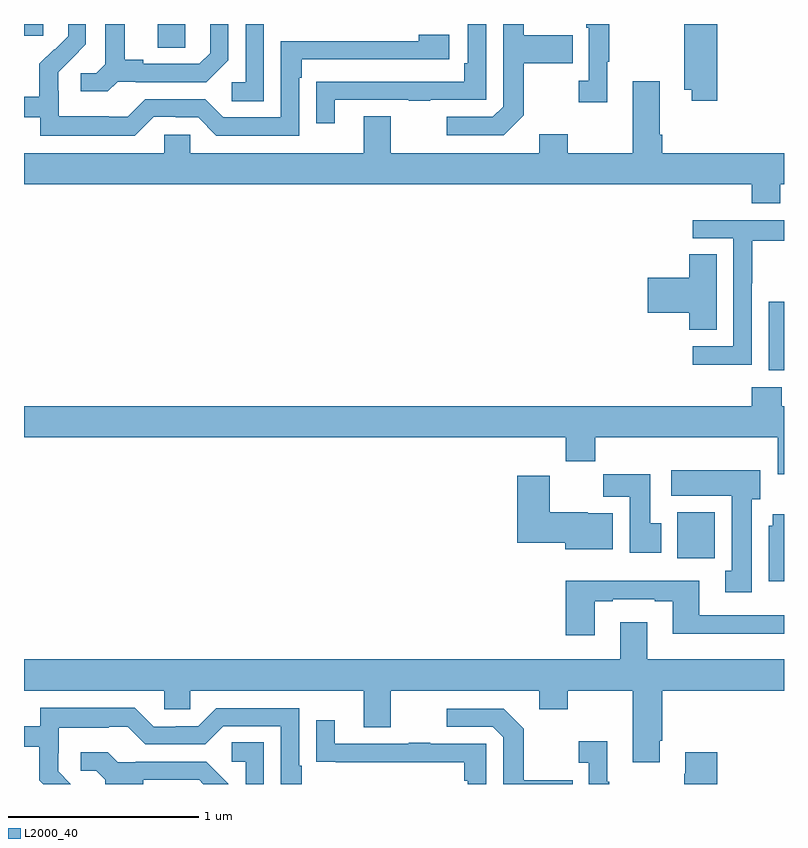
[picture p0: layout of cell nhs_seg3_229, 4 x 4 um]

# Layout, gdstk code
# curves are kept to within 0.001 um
import gdstk
lib = gdstk.Library(unit=1e-6, precision=1e-09)
def R(c, l, rs):  # rectangles x0, y0, x1, y1
    for r in rs: c.add(gdstk.rectangle(r[:2], r[2:], *l))
def P(c, l, *ps):  # polygons
    for p in ps: c.add(gdstk.Polygon(p, *l))
L2000_40 = (2000, 40)

nhs_seg3_229 = lib.new_cell('nhs_seg3_229')
R(nhs_seg3_229, L2000_40, [(124.439,725.588,124.636,725.83), (124.919,726.578,125,726.939), (121.703,728.275,121.848,728.4), (121,728.337,121.102,728.4)])
P(nhs_seg3_229, L2000_40, [(121.683,727.911),(121.799,727.911),(121.799,727.908),(121.917,727.908),(122.013,727.812),(122.448,727.812),(122.448,728.117),(122.461,728.117),(122.461,728.214),(123.238,728.214),(123.238,728.344),(123.077,728.344),(123.077,728.31),(122.352,728.31),(122.352,727.908),(122.049,727.908),(121.953,728.004),(121.638,728.004),(121.545,727.911),(121.445,727.911),(121.445,727.915),(121.182,727.915),(121.182,728.049),(121.18,728.049),(121.18,728.146),(121.326,728.294),(121.326,728.4),(121.232,728.4),(121.232,728.336),(121.161,728.265),(121.158,728.268),(121.081,728.191),(121.081,728.017),(121,728.017),(121,727.908),(121.086,727.908),(121.086,727.811),(121.583,727.811)],
  [(123.631,727.921),(123.631,728.194),(123.887,728.194),(123.887,728.341),(123.631,728.341),(123.631,728.4),(123.522,728.4),(123.522,727.965),(123.468,727.911),(123.225,727.911),(123.225,727.815),(123.525,727.815)],
  [(124.649,728.4),(124.474,728.4),(124.474,728.054),(124.514,728.054),(124.514,727.995),(124.649,727.995)],
  [(122.635,728.001),(123.025,728.001),(123.025,727.996),(123.137,727.996),(123.137,728.001),(123.432,728.001),(123.432,728.4),(123.336,728.4),(123.336,728.194),(123.316,728.194),(123.316,728.097),(122.641,728.097),(122.641,728.096),(122.539,728.096),(122.539,727.878),(122.635,727.878)],
  [(124.069,728.201),(124.081,728.201),(124.081,728.4),(123.96,728.4),(123.96,728.381),(123.972,728.381),(123.972,728.102),(123.921,728.102),(123.921,727.989),(124.069,727.989)],
  [(122.262,728.4),(122.166,728.4),(122.166,728.094),(122.094,728.094),(122.094,727.993),(122.262,727.993)],
  [(121.494,728.097),(121.588,728.097),(121.588,728.094),(121.96,728.094),(122.076,728.21),(122.076,728.4),(121.979,728.4),(121.979,728.247),(121.922,728.19),(121.627,728.19),(121.627,728.213),(121.531,728.213),(121.531,728.4),(121.427,728.4),(121.427,728.189),(121.38,728.142),(121.299,728.142),(121.299,728.045),(121.442,728.045)],
  [(124.981,727.556),(125,727.556),(125,727.72),(124.358,727.72),(124.358,727.816),(124.345,727.816),(124.345,728.098),(124.205,728.098),(124.205,727.72),(123.861,727.72),(123.861,727.819),(123.713,727.819),(123.713,727.72),(122.929,727.72),(122.929,727.915),(122.789,727.915),(122.789,727.72),(121.875,727.72),(121.875,727.818),(121.737,727.818),(121.737,727.72),(121,727.72),(121,727.556),(124.829,727.556),(124.829,727.457),(124.981,727.457)],
  [(124.83,727.036),(124.833,727.036),(124.833,727.26),(125,727.26),(125,727.368),(124.521,727.368),(124.521,727.272),(124.734,727.272),(124.734,726.705),(124.521,726.705),(124.521,726.607),(124.83,726.607)],
  [(124.645,727.187),(124.502,727.187),(124.502,727.064),(124.284,727.064),(124.284,726.881),(124.502,726.881),(124.502,726.79),(124.645,726.79)],
  [(125,726.388),(124.989,726.388),(124.989,726.487),(124.829,726.487),(124.829,726.388),(121,726.388),(121,726.224),(123.851,726.224),(123.851,726.1),(124.007,726.1),(124.007,726.224),(124.967,726.224),(124.967,726.03),(125,726.03)],
  [(124.831,725.898),(124.876,725.898),(124.876,726.052),(124.407,726.052),(124.407,725.918),(124.724,725.918),(124.724,725.522),(124.691,725.522),(124.691,725.409),(124.831,725.409)],
  [(124.354,725.772),(124.297,725.772),(124.297,726.031),(124.048,726.031),(124.048,725.912),(124.187,725.912),(124.187,725.616),(124.354,725.616)],
  [(124.099,725.824),(123.966,725.824),(123.966,725.83),(123.766,725.83),(123.766,726.022),(123.596,726.022),(123.596,725.669),(123.848,725.669),(123.848,725.636),(124.099,725.636)],
  [(125,725.821),(124.94,725.821),(124.94,725.76),(124.919,725.76),(124.919,725.468),(125,725.468)],
  [(124.003,725.361),(124.099,725.361),(124.099,725.373),(124.319,725.373),(124.319,725.361),(124.415,725.361),(124.415,725.192),(125,725.192),(125,725.289),(124.555,725.289),(124.555,725.47),(123.851,725.47),(123.851,725.184),(124.003,725.184)],
  [(124.345,724.627),(124.358,724.627),(124.358,724.892),(125,724.892),(125,725.056),(124.279,725.056),(124.279,725.251),(124.139,725.251),(124.139,725.056),(121,725.056),(121,724.892),(121.737,724.892),(121.737,724.794),(121.875,724.794),(121.875,724.892),(122.789,724.892),(122.789,724.698),(122.929,724.698),(122.929,724.892),(123.713,724.892),(123.713,724.793),(123.861,724.793),(123.861,724.892),(124.205,724.892),(124.205,724.515),(124.345,724.515)],
  [(121.18,724.466),(121.18,724.563),(121.182,724.563),(121.182,724.697),(121.445,724.697),(121.445,724.701),(121.545,724.701),(121.638,724.608),(121.953,724.608),(122.049,724.704),(122.352,724.704),(122.352,724.4),(122.461,724.4),(122.461,724.495),(122.448,724.495),(122.448,724.8),(122.013,724.8),(121.917,724.704),(121.799,724.704),(121.799,724.701),(121.683,724.701),(121.583,724.801),(121.086,724.801),(121.086,724.704),(121,724.704),(121,724.596),(121.081,724.596),(121.081,724.421),(121.102,724.4),(121.246,724.4)],
  [(123.887,724.419),(123.631,724.419),(123.631,724.691),(123.525,724.797),(123.225,724.797),(123.225,724.701),(123.468,724.701),(123.522,724.647),(123.522,724.4),(123.887,724.4)],
  [(123.432,724.611),(123.137,724.611),(123.137,724.616),(123.025,724.616),(123.025,724.611),(122.635,724.611),(122.635,724.735),(122.539,724.735),(122.539,724.516),(122.641,724.516),(122.641,724.515),(123.316,724.515),(123.316,724.418),(123.336,724.418),(123.336,724.4),(123.432,724.4)],
  [(124.081,724.411),(124.069,724.411),(124.069,724.624),(123.921,724.624),(123.921,724.511),(123.972,724.511),(123.972,724.4),(124.081,724.4)],
  [(122.262,724.619),(122.094,724.619),(122.094,724.518),(122.166,724.518),(122.166,724.4),(122.262,724.4)],
  [(124.649,724.567),(124.481,724.567),(124.481,724.454),(124.474,724.454),(124.474,724.4),(124.649,724.4)],
  [(121.627,724.422),(121.922,724.422),(121.944,724.4),(122.076,724.4),(122.076,724.402),(121.96,724.518),(121.588,724.518),(121.588,724.515),(121.494,724.515),(121.442,724.567),(121.299,724.567),(121.299,724.47),(121.38,724.47),(121.427,724.423),(121.427,724.4),(121.627,724.4)])

lib.write_gds('nhs_seg3_229.gds')
